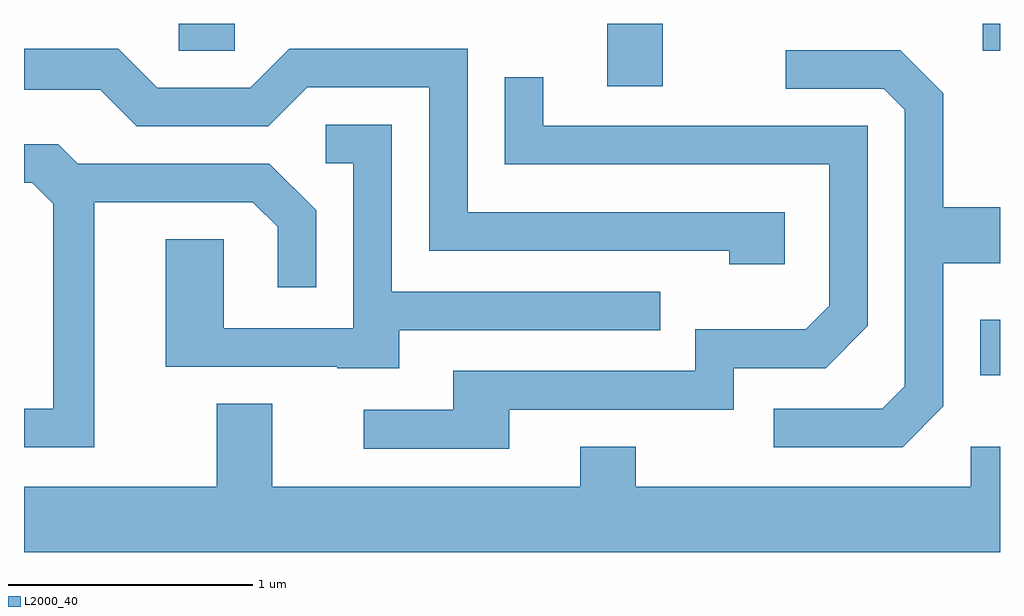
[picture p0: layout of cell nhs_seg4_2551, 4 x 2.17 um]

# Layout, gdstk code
import gdstk
lib = gdstk.Library(unit=1e-6, precision=1e-09)
def R(c, l, rs):  # rectangles x0, y0, x1, y1
    for r in rs: c.add(gdstk.rectangle(r[:2], r[2:], *l))
def P(c, l, *ps):  # polygons
    for p in ps: c.add(gdstk.Polygon(p, *l))
L2000_40 = (2000, 40)

nhs_seg4_2551 = lib.new_cell('nhs_seg4_2551')
R(nhs_seg4_2551, L2000_40, [(263.531,1326.541,263.611,1326.769), (262.001,1327.726,262.229,1327.982), (260.246,1327.871,260.474,1327.982), (263.541,1327.871,263.611,1327.982)])
P(nhs_seg4_2551, L2000_40, [(262.729,1327.209),(261.429,1327.209),(261.429,1327.879),(260.699,1327.879),(260.539,1327.719),(260.157,1327.719),(259.997,1327.879),(259.611,1327.879),(259.611,1327.711),(259.924,1327.711),(260.074,1327.561),(260.611,1327.561),(260.772,1327.721),(261.271,1327.721),(261.271,1327.051),(262.501,1327.051),(262.501,1326.996),(262.729,1326.996)],
  [(263.379,1326.414),(263.379,1327.001),(263.611,1327.001),(263.611,1327.229),(263.379,1327.229),(263.379,1327.697),(263.202,1327.874),(262.733,1327.874),(262.733,1327.716),(263.134,1327.716),(263.221,1327.629),(263.221,1326.497),(263.129,1326.404),(262.683,1326.404),(262.683,1326.246),(263.212,1326.246)],
  [(261.599,1326.401),(262.519,1326.401),(262.519,1326.571),(262.897,1326.571),(263.069,1326.744),(263.069,1327.564),(261.739,1327.564),(261.739,1327.763),(261.581,1327.763),(261.581,1327.406),(262.911,1327.406),(262.911,1326.827),(262.814,1326.729),(262.361,1326.729),(262.361,1326.559),(261.371,1326.559),(261.371,1326.399),(261.003,1326.399),(261.003,1326.241),(261.599,1326.241)],
  [(261.149,1326.726),(262.218,1326.726),(262.218,1326.884),(261.119,1326.884),(261.119,1327.569),(260.848,1327.569),(260.848,1327.411),(260.961,1327.411),(260.961,1326.734),(260.429,1326.734),(260.429,1327.099),(260.191,1327.099),(260.191,1326.576),(260.895,1326.576),(260.895,1326.571),(261.149,1326.571)],
  [(259.899,1327.251),(260.549,1327.251),(260.651,1327.149),(260.651,1326.903),(260.809,1326.903),(260.809,1327.217),(260.617,1327.409),(259.832,1327.409),(259.752,1327.489),(259.611,1327.489),(259.611,1327.331),(259.644,1327.331),(259.731,1327.244),(259.731,1326.404),(259.611,1326.404),(259.611,1326.246),(259.899,1326.246)],
  [(263.611,1326.249),(263.491,1326.249),(263.491,1326.084),(262.119,1326.084),(262.119,1326.249),(261.891,1326.249),(261.891,1326.084),(260.629,1326.084),(260.629,1326.424),(260.401,1326.424),(260.401,1326.084),(259.611,1326.084),(259.611,1325.816),(263.611,1325.816)])

lib.write_gds('nhs_seg4_2551.gds')
